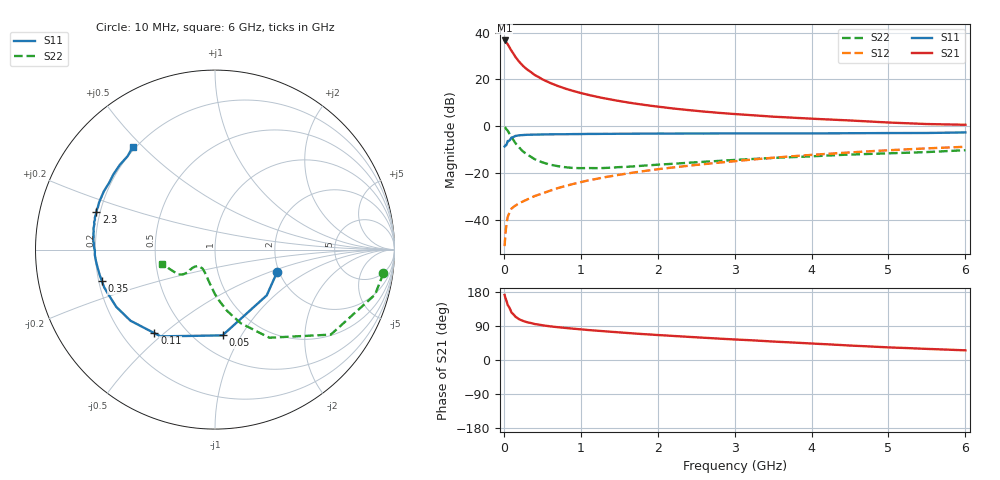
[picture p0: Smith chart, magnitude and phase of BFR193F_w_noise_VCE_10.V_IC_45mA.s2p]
! Infineon Technologies  Discrete & RF Semiconductors
! BFR193F
! VCE =  10. V,  IC =  45 mA
! Common Emitter S-Parameters:  Jan 2017
# GHz  S  MA  R  50
!  f  S11  S21  S12  S22
! GHz  MAG  ANG  MAG  ANG  MAG  ANG  MAG  ANG
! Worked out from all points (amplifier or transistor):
!   77 points, 10 MHz to 6 GHz, reference 50 ohm
!   highest |S21| = 36.6 dB at 10 MHz (marker M1)
!   |S21| within 3 dB of that: start of sweep to 74.4 MHz
!   unconditionally stable (mu >= 1): 983.4 MHz to 2.621 GHz
!   at 130 MHz: K = 0.42, MSG = 32.6 dB, |S12| = -34.5 dB
!   at 2.2 GHz: K = 1.02, MAG = 11.8 dB, |S12| = -17.7 dB
!   at 6 GHz: K = 0.85, MSG = 4.7 dB, |S12| = -8.8 dB
!   lowest NFmin = 1.41 dB at 450 MHz
!   S11 on the Smith chart (normalised r, x): 10 MHz: 1.94, -0.57; 50 MHz: 0.67, -0.83; 110 MHz: 0.33, -0.46; 350 MHz: 0.21, -0.13; 2.3 GHz: 0.19, +0.15; 6 GHz: 0.19, +0.47
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0.01  0.3677 -20.3  67.96 171.8  0.0027 79.8  0.9476 -7.9
0.02  0.3848 -41.4  65.58 164.1  0.0048 80.2  0.9265 -15.7
0.05  0.4797 -85.0  56.6 145.3  0.0114 65.0  0.8003 -36.3
0.1  0.5706 -122.1  40.7 125.1  0.0173 53.1  0.577 -58.3
0.11  0.5749 -125.9  38.52 123.4  0.0178 52.4  0.5466 -60.3
0.15  0.6153 -139.9  30.26 114.3  0.0199 50.1  0.4338 -70.8
0.2  0.636 -149.9  23.75 107.5  0.0225 51.5  0.3483 -78.8
0.25  0.6438 -156.9  19.38 103.1  0.0245 53.7  0.2863 -85.2
0.3  0.6523 -161.2  16.39 99.8  0.0268 55.4  0.2485 -90.0
0.35  0.6541 -164.4  14.41 97.7  0.0293 56.9  0.2219 -93.4
0.4  0.6579 -167.6  12.46 95.0  0.0318 58.1  0.1962 -97.7
0.5  0.6622 -171.6  10.05 91.7  0.0362 62.0  0.1678 -104.0
0.6  0.6666 -174.7  8.419 88.9  0.0415 64.1  0.1497 -109.3
0.8  0.6694 -179.4  6.344 84.6  0.0523 67.6  0.132 -118.7
1.1  0.6803 175.6  4.653 79.1  0.0691 71.1  0.1267 -127.8
1.5  0.6869 170.3  3.442 72.9  0.0909 72.3  0.1326 -135.7
2.1  0.6922 164.2  2.496 64.8  0.1249 72.9  0.1529 -140.3
2.3  0.6934 162.3  2.291 62.3  0.136 72.8  0.1604 -140.8
3.1  0.6974 155.7  1.767 53.2  0.1838 71.7  0.1927 -140.4
4.1  0.6985 146.9  1.416 42.5  0.2484 68.1  0.2298 -143.0
5.1  0.7103 137.2  1.175 32.5  0.3101 63.0  0.2648 -153.5
6  0.733 128.7  1.068 25.5  0.3612 57.8  0.3052 -164.4
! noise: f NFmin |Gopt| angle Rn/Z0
0.45  1.41  0.45  180  0.07
0.9  1.49  0.46  -179  0.07
1.9  2.06  0.59  -164  0.09
2.4  2.37  0.61  -156  0.14
